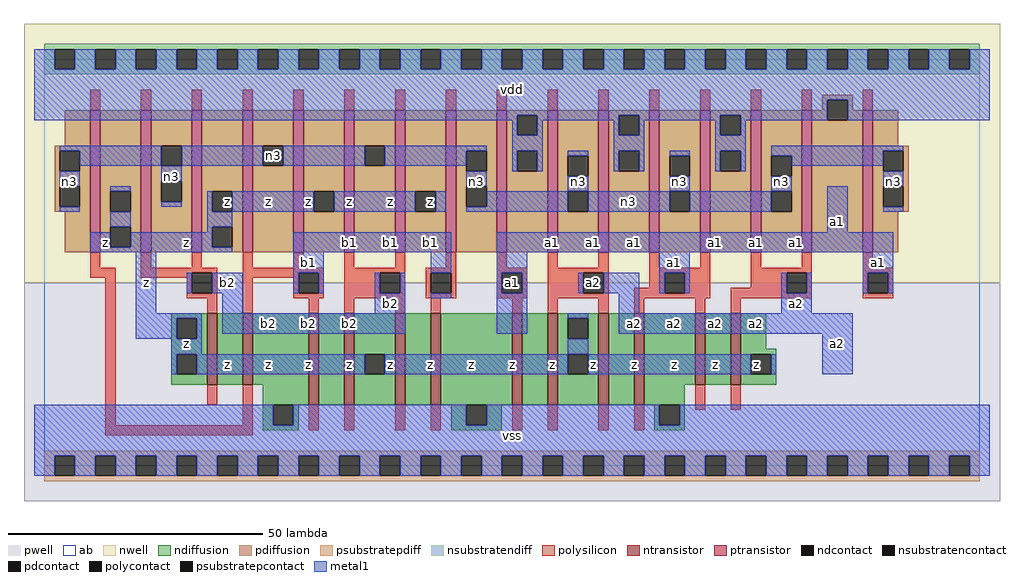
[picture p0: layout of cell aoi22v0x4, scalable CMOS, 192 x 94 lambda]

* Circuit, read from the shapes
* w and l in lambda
.subckt aoi22v0x4 a1 a2 b1 b2 n3 vdd vss z
M1 n1 b2 z vss nfet w=14 l=2
M2 vss b1 n1 vss nfet w=14 l=2
M3 n2 b1 vss vss nfet w=18 l=2
M4 z b2 n2 vss nfet w=18 l=2
M5 n4 b2 z vss nfet w=18 l=2
M6 vss b1 n4 vss nfet w=18 l=2
M7 n5 a1 vss vss nfet w=18 l=2
M8 z a2 n5 vss nfet w=18 l=2
M9 n6 a2 z vss nfet w=18 l=2
M10 vss a1 n6 vss nfet w=18 l=2
M11 n7 a1 vss vss nfet w=14 l=2
M12 z a2 n7 vss nfet w=14 l=2
M13 z b1 n3 vdd pfet w=28 l=2 m=4
M14 n3 b2 z vdd pfet w=28 l=2 m=4
M15 vdd a1 n3 vdd pfet w=28 l=2 m=4
M16 n3 a2 vdd vdd pfet w=28 l=2 m=4
.ends

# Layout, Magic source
magic
tech scmos
<< ab >>
rect 0 0 184 80
<< pwell >>
rect -4 -7 188 36
<< nwell >>
rect -4 36 188 87
<< polysilicon >>
rect 9 70 11 74
rect 19 70 21 74
rect 29 70 31 74
rect 39 70 41 74
rect 49 70 51 74
rect 59 70 61 74
rect 69 70 71 74
rect 79 70 81 74
rect 89 70 91 74
rect 99 70 101 74
rect 109 70 111 74
rect 119 70 121 74
rect 129 70 131 74
rect 139 70 141 74
rect 149 70 151 74
rect 161 70 163 74
rect 9 39 11 42
rect 19 39 21 42
rect 29 39 31 42
rect 39 39 41 42
rect 49 39 51 42
rect 59 39 61 42
rect 69 39 71 42
rect 79 39 81 42
rect 9 37 14 39
rect 19 38 34 39
rect 19 37 29 38
rect 12 8 14 37
rect 28 34 29 37
rect 33 34 34 38
rect 28 33 34 34
rect 32 30 34 33
rect 39 38 55 39
rect 39 37 50 38
rect 39 30 41 37
rect 49 34 50 37
rect 54 34 55 38
rect 49 33 55 34
rect 59 38 71 39
rect 59 34 66 38
rect 70 34 71 38
rect 59 33 71 34
rect 75 38 81 39
rect 75 34 76 38
rect 80 34 81 38
rect 75 33 81 34
rect 89 39 91 42
rect 99 39 101 42
rect 109 39 111 42
rect 89 38 95 39
rect 89 34 90 38
rect 94 34 95 38
rect 89 33 95 34
rect 99 38 111 39
rect 99 34 106 38
rect 110 34 111 38
rect 119 39 121 42
rect 129 39 131 42
rect 119 38 131 39
rect 119 35 122 38
rect 99 33 111 34
rect 52 30 54 33
rect 59 30 61 33
rect 69 30 71 33
rect 76 30 78 33
rect 92 30 94 33
rect 99 30 101 33
rect 109 30 111 33
rect 116 34 122 35
rect 126 34 131 38
rect 139 39 141 42
rect 149 39 151 42
rect 139 38 151 39
rect 139 35 146 38
rect 116 33 131 34
rect 135 34 146 35
rect 150 34 151 38
rect 135 33 151 34
rect 161 39 163 42
rect 161 38 167 39
rect 161 34 162 38
rect 166 34 167 38
rect 161 33 167 34
rect 116 30 118 33
rect 128 30 130 33
rect 135 30 137 33
rect 32 12 34 16
rect 39 8 41 16
rect 12 6 41 8
rect 52 7 54 12
rect 59 7 61 12
rect 69 7 71 12
rect 76 7 78 12
rect 92 7 94 12
rect 99 7 101 12
rect 109 7 111 12
rect 116 7 118 12
rect 128 11 130 16
rect 135 11 137 16
<< ndiffusion >>
rect 25 29 32 30
rect 25 25 26 29
rect 30 25 32 29
rect 25 22 32 25
rect 25 18 26 22
rect 30 18 32 22
rect 25 16 32 18
rect 34 16 39 30
rect 41 16 52 30
rect 43 12 52 16
rect 54 12 59 30
rect 61 22 69 30
rect 61 18 63 22
rect 67 18 69 22
rect 61 12 69 18
rect 71 12 76 30
rect 78 12 92 30
rect 94 12 99 30
rect 101 29 109 30
rect 101 25 103 29
rect 107 25 109 29
rect 101 22 109 25
rect 101 18 103 22
rect 107 18 109 22
rect 101 12 109 18
rect 111 12 116 30
rect 118 16 128 30
rect 130 16 135 30
rect 137 23 142 30
rect 137 22 144 23
rect 137 18 139 22
rect 143 18 144 22
rect 137 16 144 18
rect 118 12 126 16
rect 43 8 45 12
rect 49 8 50 12
rect 43 7 50 8
rect 80 8 83 12
rect 87 8 90 12
rect 80 7 90 8
rect 120 8 121 12
rect 125 8 126 12
rect 120 7 126 8
<< pdiffusion >>
rect 153 72 159 73
rect 153 70 154 72
rect 4 63 9 70
rect 2 62 9 63
rect 2 58 3 62
rect 7 58 9 62
rect 2 55 9 58
rect 2 51 3 55
rect 7 51 9 55
rect 2 50 9 51
rect 4 42 9 50
rect 11 54 19 70
rect 11 50 13 54
rect 17 50 19 54
rect 11 47 19 50
rect 11 43 13 47
rect 17 43 19 47
rect 11 42 19 43
rect 21 63 29 70
rect 21 59 23 63
rect 27 59 29 63
rect 21 56 29 59
rect 21 52 23 56
rect 27 52 29 56
rect 21 42 29 52
rect 31 54 39 70
rect 31 50 33 54
rect 37 50 39 54
rect 31 47 39 50
rect 31 43 33 47
rect 37 43 39 47
rect 31 42 39 43
rect 41 63 49 70
rect 41 59 43 63
rect 47 59 49 63
rect 41 42 49 59
rect 51 54 59 70
rect 51 50 53 54
rect 57 50 59 54
rect 51 42 59 50
rect 61 63 69 70
rect 61 59 63 63
rect 67 59 69 63
rect 61 42 69 59
rect 71 54 79 70
rect 71 50 73 54
rect 77 50 79 54
rect 71 42 79 50
rect 81 62 89 70
rect 81 58 83 62
rect 87 58 89 62
rect 81 55 89 58
rect 81 51 83 55
rect 87 51 89 55
rect 81 42 89 51
rect 91 69 99 70
rect 91 65 93 69
rect 97 65 99 69
rect 91 62 99 65
rect 91 58 93 62
rect 97 58 99 62
rect 91 42 99 58
rect 101 61 109 70
rect 101 57 103 61
rect 107 57 109 61
rect 101 54 109 57
rect 101 50 103 54
rect 107 50 109 54
rect 101 42 109 50
rect 111 69 119 70
rect 111 65 113 69
rect 117 65 119 69
rect 111 62 119 65
rect 111 58 113 62
rect 117 58 119 62
rect 111 42 119 58
rect 121 61 129 70
rect 121 57 123 61
rect 127 57 129 61
rect 121 54 129 57
rect 121 50 123 54
rect 127 50 129 54
rect 121 42 129 50
rect 131 69 139 70
rect 131 65 133 69
rect 137 65 139 69
rect 131 62 139 65
rect 131 58 133 62
rect 137 58 139 62
rect 131 42 139 58
rect 141 61 149 70
rect 141 57 143 61
rect 147 57 149 61
rect 141 54 149 57
rect 141 50 143 54
rect 147 50 149 54
rect 141 42 149 50
rect 151 68 154 70
rect 158 70 159 72
rect 158 68 161 70
rect 151 42 161 68
rect 163 63 168 70
rect 163 62 170 63
rect 163 58 165 62
rect 169 58 170 62
rect 163 55 170 58
rect 163 51 165 55
rect 169 51 170 55
rect 163 50 170 51
rect 163 42 168 50
<< metal1 >>
rect -2 78 2 82
rect 6 78 10 82
rect 14 78 18 82
rect 22 78 26 82
rect 30 78 34 82
rect 38 78 42 82
rect 46 78 50 82
rect 54 78 58 82
rect 62 78 66 82
rect 70 78 74 82
rect 78 78 82 82
rect 86 78 90 82
rect 94 78 98 82
rect 102 78 106 82
rect 110 78 114 82
rect 118 78 122 82
rect 126 78 130 82
rect 134 78 138 82
rect 142 78 146 82
rect 150 78 154 82
rect 158 78 162 82
rect 166 78 170 82
rect 174 78 178 82
rect 182 78 186 82
rect -2 72 186 78
rect -2 69 154 72
rect -2 68 93 69
rect 92 65 93 68
rect 97 68 113 69
rect 97 65 98 68
rect 3 62 23 63
rect 7 59 23 62
rect 27 59 43 63
rect 47 59 63 63
rect 67 62 87 63
rect 67 59 83 62
rect 3 55 7 58
rect 23 56 27 59
rect 3 50 7 51
rect 13 54 17 55
rect 92 62 98 65
rect 112 65 113 68
rect 117 68 133 69
rect 117 65 118 68
rect 112 62 118 65
rect 132 65 133 68
rect 137 68 154 69
rect 158 68 186 72
rect 137 65 138 68
rect 132 62 138 65
rect 92 58 93 62
rect 97 58 98 62
rect 103 61 107 62
rect 83 55 87 58
rect 23 51 27 52
rect 13 47 17 50
rect 9 43 13 46
rect 32 50 33 54
rect 37 50 53 54
rect 57 50 73 54
rect 77 50 79 54
rect 112 58 113 62
rect 117 58 118 62
rect 123 61 127 62
rect 103 54 107 57
rect 132 58 133 62
rect 137 58 138 62
rect 143 62 169 63
rect 143 61 165 62
rect 123 54 127 57
rect 147 59 165 61
rect 143 54 147 57
rect 165 55 169 58
rect 87 51 103 54
rect 83 50 103 51
rect 107 50 123 54
rect 127 50 143 54
rect 32 47 37 50
rect 32 46 33 47
rect 17 43 33 46
rect 154 46 158 55
rect 165 50 169 51
rect 9 42 37 43
rect 49 42 80 46
rect 18 30 22 42
rect 49 38 55 42
rect 76 38 80 42
rect 28 34 29 38
rect 33 34 39 38
rect 49 34 50 38
rect 54 34 55 38
rect 65 34 66 38
rect 70 34 71 38
rect 35 30 39 34
rect 65 30 71 34
rect 76 33 80 34
rect 89 42 167 46
rect 89 38 95 42
rect 121 38 127 42
rect 161 38 167 42
rect 89 34 90 38
rect 94 34 95 38
rect 105 34 106 38
rect 110 34 117 38
rect 121 34 122 38
rect 126 34 127 38
rect 145 34 146 38
rect 150 34 151 38
rect 161 34 162 38
rect 166 34 167 38
rect 18 29 31 30
rect 18 25 26 29
rect 30 25 31 29
rect 35 26 71 30
rect 89 26 95 34
rect 113 30 117 34
rect 145 30 151 34
rect 103 29 107 30
rect 25 22 31 25
rect 113 26 159 30
rect 103 22 107 25
rect 25 18 26 22
rect 30 18 63 22
rect 67 18 103 22
rect 107 18 139 22
rect 143 18 144 22
rect 153 18 159 26
rect -2 8 45 12
rect 49 8 83 12
rect 87 8 121 12
rect 125 8 186 12
rect -2 2 186 8
rect -2 -2 2 2
rect 6 -2 10 2
rect 14 -2 18 2
rect 22 -2 26 2
rect 30 -2 34 2
rect 38 -2 42 2
rect 46 -2 50 2
rect 54 -2 58 2
rect 62 -2 66 2
rect 70 -2 74 2
rect 78 -2 82 2
rect 86 -2 90 2
rect 94 -2 98 2
rect 102 -2 106 2
rect 110 -2 114 2
rect 118 -2 122 2
rect 126 -2 130 2
rect 134 -2 138 2
rect 142 -2 146 2
rect 150 -2 154 2
rect 158 -2 162 2
rect 166 -2 170 2
rect 174 -2 178 2
rect 182 -2 186 2
<< ntransistor >>
rect 32 16 34 30
rect 39 16 41 30
rect 52 12 54 30
rect 59 12 61 30
rect 69 12 71 30
rect 76 12 78 30
rect 92 12 94 30
rect 99 12 101 30
rect 109 12 111 30
rect 116 12 118 30
rect 128 16 130 30
rect 135 16 137 30
<< ptransistor >>
rect 9 42 11 70
rect 19 42 21 70
rect 29 42 31 70
rect 39 42 41 70
rect 49 42 51 70
rect 59 42 61 70
rect 69 42 71 70
rect 79 42 81 70
rect 89 42 91 70
rect 99 42 101 70
rect 109 42 111 70
rect 119 42 121 70
rect 129 42 131 70
rect 139 42 141 70
rect 149 42 151 70
rect 161 42 163 70
<< polycontact >>
rect 29 34 33 38
rect 50 34 54 38
rect 66 34 70 38
rect 76 34 80 38
rect 90 34 94 38
rect 106 34 110 38
rect 122 34 126 38
rect 146 34 150 38
rect 162 34 166 38
<< ndcontact >>
rect 26 25 30 29
rect 26 18 30 22
rect 63 18 67 22
rect 103 25 107 29
rect 103 18 107 22
rect 139 18 143 22
rect 45 8 49 12
rect 83 8 87 12
rect 121 8 125 12
<< pdcontact >>
rect 3 58 7 62
rect 3 51 7 55
rect 13 50 17 54
rect 13 43 17 47
rect 23 59 27 63
rect 23 52 27 56
rect 33 50 37 54
rect 33 43 37 47
rect 43 59 47 63
rect 53 50 57 54
rect 63 59 67 63
rect 73 50 77 54
rect 83 58 87 62
rect 83 51 87 55
rect 93 65 97 69
rect 93 58 97 62
rect 103 57 107 61
rect 103 50 107 54
rect 113 65 117 69
rect 113 58 117 62
rect 123 57 127 61
rect 123 50 127 54
rect 133 65 137 69
rect 133 58 137 62
rect 143 57 147 61
rect 143 50 147 54
rect 154 68 158 72
rect 165 58 169 62
rect 165 51 169 55
<< psubstratepcontact >>
rect 2 -2 6 2
rect 10 -2 14 2
rect 18 -2 22 2
rect 26 -2 30 2
rect 34 -2 38 2
rect 42 -2 46 2
rect 50 -2 54 2
rect 58 -2 62 2
rect 66 -2 70 2
rect 74 -2 78 2
rect 82 -2 86 2
rect 90 -2 94 2
rect 98 -2 102 2
rect 106 -2 110 2
rect 114 -2 118 2
rect 122 -2 126 2
rect 130 -2 134 2
rect 138 -2 142 2
rect 146 -2 150 2
rect 154 -2 158 2
rect 162 -2 166 2
rect 170 -2 174 2
rect 178 -2 182 2
<< nsubstratencontact >>
rect 2 78 6 82
rect 10 78 14 82
rect 18 78 22 82
rect 26 78 30 82
rect 34 78 38 82
rect 42 78 46 82
rect 50 78 54 82
rect 58 78 62 82
rect 66 78 70 82
rect 74 78 78 82
rect 82 78 86 82
rect 90 78 94 82
rect 98 78 102 82
rect 106 78 110 82
rect 114 78 118 82
rect 122 78 126 82
rect 130 78 134 82
rect 138 78 142 82
rect 146 78 150 82
rect 154 78 158 82
rect 162 78 166 82
rect 170 78 174 82
rect 178 78 182 82
<< psubstratepdiff >>
rect 0 2 184 3
rect 0 -2 2 2
rect 6 -2 10 2
rect 14 -2 18 2
rect 22 -2 26 2
rect 30 -2 34 2
rect 38 -2 42 2
rect 46 -2 50 2
rect 54 -2 58 2
rect 62 -2 66 2
rect 70 -2 74 2
rect 78 -2 82 2
rect 86 -2 90 2
rect 94 -2 98 2
rect 102 -2 106 2
rect 110 -2 114 2
rect 118 -2 122 2
rect 126 -2 130 2
rect 134 -2 138 2
rect 142 -2 146 2
rect 150 -2 154 2
rect 158 -2 162 2
rect 166 -2 170 2
rect 174 -2 178 2
rect 182 -2 184 2
rect 0 -3 184 -2
<< nsubstratendiff >>
rect 0 82 184 83
rect 0 78 2 82
rect 6 78 10 82
rect 14 78 18 82
rect 22 78 26 82
rect 30 78 34 82
rect 38 78 42 82
rect 46 78 50 82
rect 54 78 58 82
rect 62 78 66 82
rect 70 78 74 82
rect 78 78 82 82
rect 86 78 90 82
rect 94 78 98 82
rect 102 78 106 82
rect 110 78 114 82
rect 118 78 122 82
rect 126 78 130 82
rect 134 78 138 82
rect 142 78 146 82
rect 150 78 154 82
rect 158 78 162 82
rect 166 78 170 82
rect 174 78 178 82
rect 182 78 184 82
rect 0 77 184 78
<< labels >>
rlabel metal1 20 36 20 36 6 z
rlabel metal1 12 44 12 44 6 z
rlabel metal1 25 57 25 57 6 n3
rlabel metal1 5 56 5 56 6 n3
rlabel metal1 36 20 36 20 6 z
rlabel metal1 44 20 44 20 6 z
rlabel metal1 52 20 52 20 6 z
rlabel metal1 44 28 44 28 6 b2
rlabel metal1 52 28 52 28 6 b2
rlabel metal1 28 24 28 24 6 z
rlabel metal1 36 36 36 36 6 b2
rlabel metal1 52 40 52 40 6 b1
rlabel metal1 28 44 28 44 6 z
rlabel pdcontact 36 52 36 52 6 z
rlabel metal1 44 52 44 52 6 z
rlabel metal1 52 52 52 52 6 z
rlabel metal1 60 20 60 20 6 z
rlabel metal1 68 20 68 20 6 z
rlabel metal1 76 20 76 20 6 z
rlabel metal1 84 20 84 20 6 z
rlabel metal1 60 28 60 28 6 b2
rlabel metal1 68 32 68 32 6 b2
rlabel metal1 68 44 68 44 6 b1
rlabel metal1 76 44 76 44 6 b1
rlabel metal1 60 44 60 44 6 b1
rlabel metal1 60 52 60 52 6 z
rlabel metal1 68 52 68 52 6 z
rlabel pdcontact 76 52 76 52 6 z
rlabel metal1 85 56 85 56 6 n3
rlabel pdcontact 45 61 45 61 6 n3
rlabel metal1 92 6 92 6 6 vss
rlabel metal1 92 20 92 20 6 z
rlabel metal1 100 20 100 20 6 z
rlabel metal1 108 20 108 20 6 z
rlabel metal1 116 20 116 20 6 z
rlabel metal1 116 28 116 28 6 a2
rlabel polycontact 92 36 92 36 6 a1
rlabel polycontact 108 36 108 36 6 a2
rlabel metal1 100 44 100 44 6 a1
rlabel metal1 108 44 108 44 6 a1
rlabel metal1 116 44 116 44 6 a1
rlabel metal1 105 56 105 56 6 n3
rlabel metal1 92 74 92 74 6 vdd
rlabel metal1 124 20 124 20 6 z
rlabel metal1 132 20 132 20 6 z
rlabel ndcontact 140 20 140 20 6 z
rlabel metal1 132 28 132 28 6 a2
rlabel metal1 140 28 140 28 6 a2
rlabel metal1 124 28 124 28 6 a2
rlabel metal1 148 32 148 32 6 a2
rlabel metal1 132 44 132 44 6 a1
rlabel metal1 140 44 140 44 6 a1
rlabel metal1 148 44 148 44 6 a1
rlabel metal1 124 40 124 40 6 a1
rlabel metal1 115 52 115 52 6 n3
rlabel metal1 145 56 145 56 6 n3
rlabel metal1 125 56 125 56 6 n3
rlabel metal1 156 24 156 24 6 a2
rlabel metal1 164 40 164 40 6 a1
rlabel metal1 156 48 156 48 6 a1
rlabel metal1 167 56 167 56 6 n3
<< end >>
